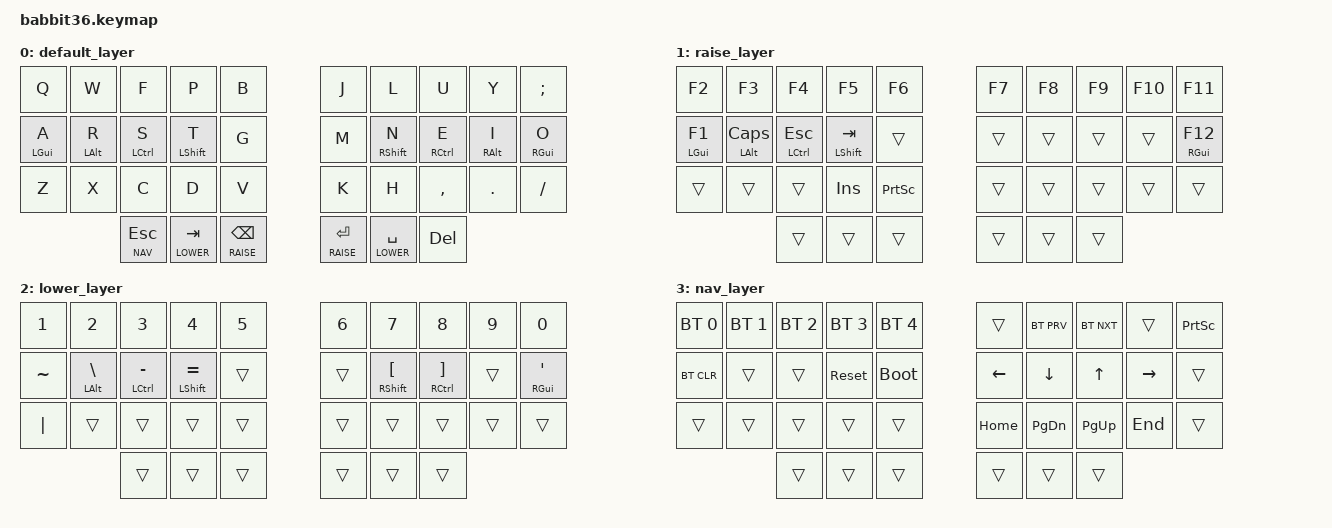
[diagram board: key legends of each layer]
/*
 * Copyright (c) 2020 The ZMK Contributors
 *
 * SPDX-License-Identifier: MIT
 */

#include <behaviors.dtsi>
#include <dt-bindings/zmk/keys.h>
#include <dt-bindings/zmk/bt.h>

#define RAISE  1
#define LOWER  2
#define NAV    3

&lt {
    quick-tap-ms = <200>;
    flavor = "hold-preferred";
};

/ {
    behaviors {
        hml: home_row_mods_left {
            compatible = "zmk,behavior-hold-tap";
            #binding-cells = <2>;
            flavor = "balanced";
            tapping-term-ms = <200>;
            quick-tap-ms = <175>;
            require-prior-idle-ms = <50>;
            bindings = <&kp>, <&kp>;
            // Keys on right half trigger left-side mods
            hold-trigger-key-positions = <5 6 7 8 9 15 16 17 18 19 25 26 27 28 29 33 34 35>;
        };
        hmr: home_row_mods_right {
            compatible = "zmk,behavior-hold-tap";
            #binding-cells = <2>;
            flavor = "balanced";
            tapping-term-ms = <200>;
            quick-tap-ms = <175>;
            require-prior-idle-ms = <50>;
            bindings = <&kp>, <&kp>;
            // Keys on left half trigger right-side mods
            hold-trigger-key-positions = <0 1 2 3 4 10 11 12 13 14 20 21 22 23 24 30 31 32>;
        };
    };

    keymap {
        compatible = "zmk,keymap";

        default_layer {
            bindings = <
// ╭───────────┬──────────┬──────────┬──────────┬──────────╮   ╭──────────┬──────────┬──────────┬──────────┬──────────╮
      &kp Q       &kp W     &kp F     &kp P     &kp B         &kp J     &kp L     &kp U     &kp Y    &kp SEMI
// ├───────────┼──────────┼──────────┼──────────┼──────────┤   ├──────────┼──────────┼──────────┼──────────┼──────────┤
    &hml LGUI A &hml LALT R &hml LCTRL S &hml LSHFT T  &kp G    &kp M   &hmr RSHFT N &hmr RCTRL E &hmr RALT I &hmr RGUI O
// ├───────────┼──────────┼──────────┼──────────┼──────────┤   ├──────────┼──────────┼──────────┼──────────┼──────────┤
      &kp Z      &kp X      &kp C     &kp D     &kp V         &kp K     &kp H    &kp COMMA   &kp DOT   &kp FSLH
// ╰───────────┴──────────┼──────────┼──────────┼──────────┤   ├──────────┼──────────┼──────────┴──────────┴──────────╯
                    &lt NAV ESC  &lt LOWER TAB   &lt RAISE BSPC    &lt RAISE RET  &lt LOWER SPACE  &kp DEL
//                 ╰──────────┴──────────┴──────────╯   ╰──────────┴──────────┴──────────╯
            >;
        };

        raise_layer {
            bindings = <
// ╭───────────┬──────────┬──────────┬──────────┬──────────╮   ╭──────────┬──────────┬──────────┬──────────┬──────────╮
      &kp F2     &kp F3    &kp F4    &kp F5    &kp F6        &kp F7    &kp F8    &kp F9    &kp F10   &kp F11
// ├───────────┼──────────┼──────────┼──────────┼──────────┤   ├──────────┼──────────┼──────────┼──────────┼──────────┤
    &hml LGUI F1 &hml LALT CAPSLOCK &hml LCTRL ESC &hml LSHFT TAB  &trans   &trans   &trans   &trans   &trans   &hmr RGUI F12
// ├───────────┼──────────┼──────────┼──────────┼──────────┤   ├──────────┼──────────┼──────────┼──────────┼──────────┤
      &trans     &trans    &trans    &kp INS   &kp PSCRN      &trans    &trans    &trans    &trans    &trans
// ╰───────────┴──────────┼──────────┼──────────┼──────────┤   ├──────────┼──────────┼──────────┴──────────┴──────────╯
                           &trans     &trans     &trans          &trans     &trans     &trans
//                       ╰──────────┴──────────┴──────────╯   ╰──────────┴──────────┴──────────╯
            >;
        };

        lower_layer {
            bindings = <
// ╭───────────┬──────────┬──────────┬──────────┬──────────╮   ╭──────────┬──────────┬──────────┬──────────┬──────────╮
      &kp N1     &kp N2    &kp N3    &kp N4    &kp N5        &kp N6    &kp N7    &kp N8    &kp N9    &kp N0
// ├───────────┼──────────┼──────────┼──────────┼──────────┤   ├──────────┼──────────┼──────────┼──────────┼──────────┤
      &kp TILDE  &hml LALT BSLH &hml LCTRL MINUS &hml LSHFT EQUAL &trans   &trans   &hmr RSHFT LBKT &hmr RCTRL RBKT &trans   &hmr RGUI SQT
// ├───────────┼──────────┼──────────┼──────────┼──────────┤   ├──────────┼──────────┼──────────┼──────────┼──────────┤
      &kp PIPE   &trans    &trans    &trans    &trans         &trans    &trans    &trans    &trans    &trans
// ╰───────────┴──────────┼──────────┼──────────┼──────────┤   ├──────────┼──────────┼──────────┴──────────┴──────────╯
                           &trans     &trans     &trans          &trans     &trans     &trans
//                       ╰──────────┴──────────┴──────────╯   ╰──────────┴──────────┴──────────╯
            >;
        };

        nav_layer {
            bindings = <
// ╭──────────────┬──────────────┬──────────────┬──────────────┬──────────────╮   ╭────────────┬────────────┬──────────┬──────────┬──────────╮
      &bt BT_SEL 0  &bt BT_SEL 1  &bt BT_SEL 2  &bt BT_SEL 3  &bt BT_SEL 4       &trans     &bt BT_PRV  &bt BT_NXT &trans    &kp PSCRN
// ├──────────────┼──────────────┼──────────────┼──────────────┼──────────────┤   ├────────────┼────────────┼──────────┼──────────┼──────────┤
      &bt BT_CLR    &trans        &trans        &sys_reset    &bootloader        &kp LEFT    &kp DOWN    &kp UP     &kp RIGHT &trans
// ├──────────────┼──────────────┼──────────────┼──────────────┼──────────────┤   ├────────────┼────────────┼──────────┼──────────┼──────────┤
      &trans        &trans        &trans        &trans        &trans             &kp HOME    &kp PG_DN   &kp PG_UP  &kp END   &trans
// ╰──────────────┴──────────────┼──────────────┼──────────────┼──────────────┤   ├────────────┼────────────┼──────────┴──────────┴──────────╯
                                   &trans        &trans        &trans             &trans      &trans      &trans
//                              ╰──────────────┴──────────────┴──────────────╯   ╰────────────┴────────────┴──────────╯
            >;
        };
    };
};
